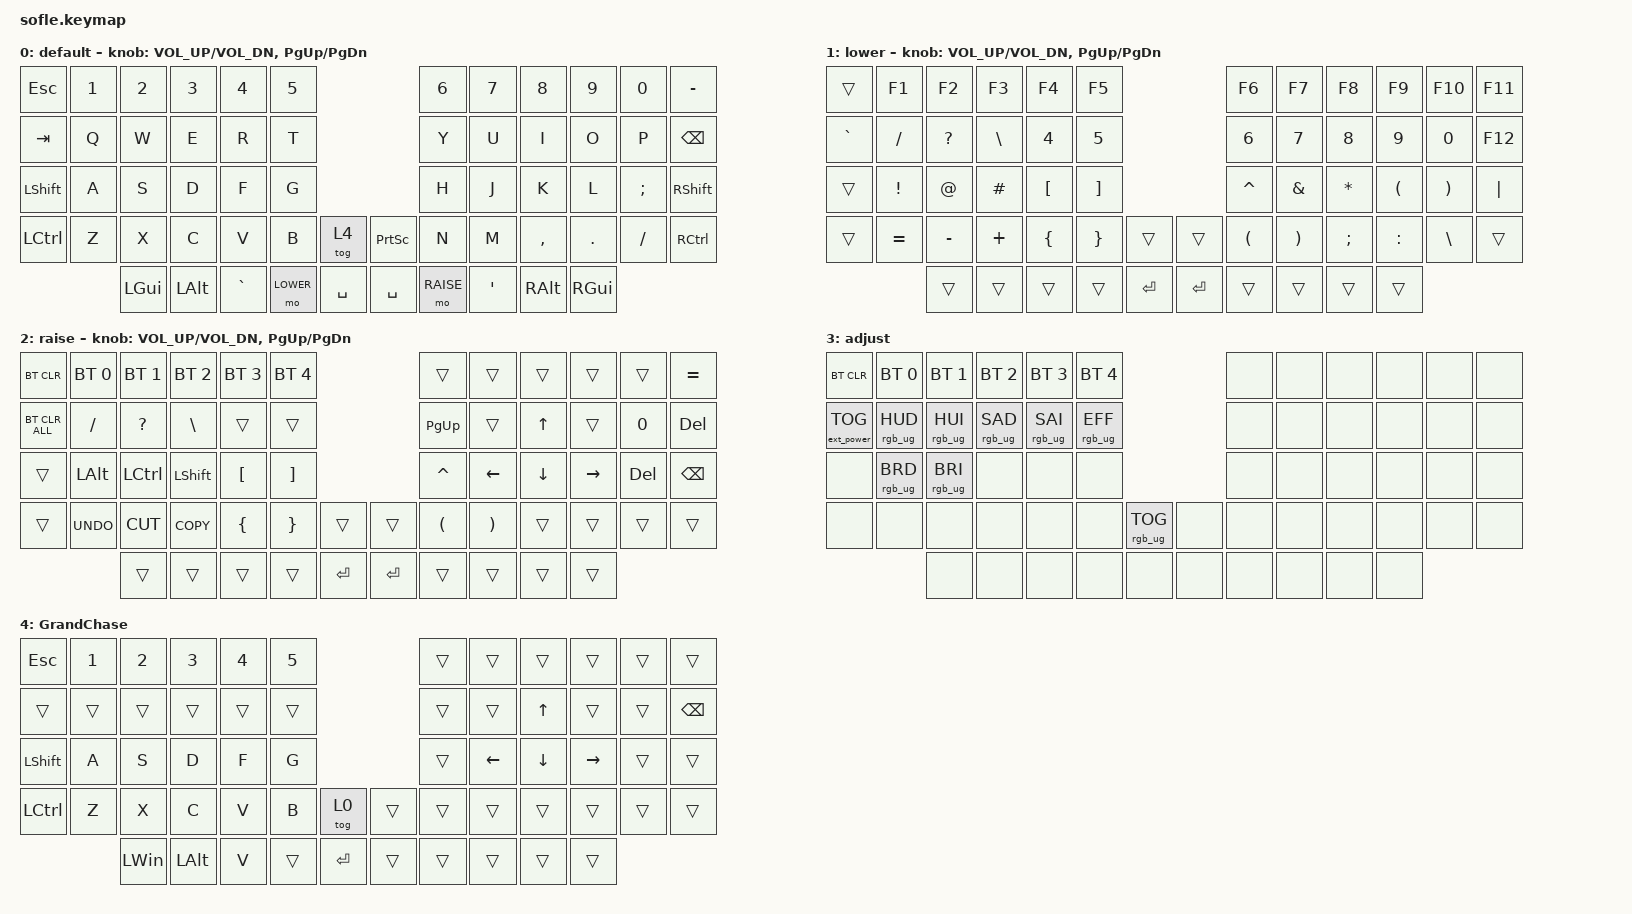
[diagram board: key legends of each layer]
/*
 * Copyright (c) 2020 The ZMK Contributors
 *
 * SPDX-License-Identifier: MIT
 */

#include <behaviors.dtsi>
#include <dt-bindings/zmk/bt.h>
#include <dt-bindings/zmk/ext_power.h>
#include <dt-bindings/zmk/keys.h>
#include <dt-bindings/zmk/rgb.h>

#define BASE 0
#define LOWER 1
#define RAISE 2
#define ADJUST 3

/ {
    // Activate ADJUST layer by pressing raise and lower

    conditional_layers {
        compatible = "zmk,conditional-layers";

        adjust_layer {
            if-layers = <LOWER RAISE>;
            then-layer = <ADJUST>;
        };
    };

    keymap {
        compatible = "zmk,keymap";

        default_layer {
            display-name = "default";

            // ------------------------------------------------------------------------------------------------------------
            // |   `   |  1  |  2  |  3   |  4   |  5   |                   |  6   |  7    |  8    |  9   |   0   |       |
            // |  ESC  |  Q  |  W  |  E   |  R   |  T   |                   |  Y   |  U    |  I    |  O   |   P   | BKSPC |
            // |  TAB  |  A  |  S  |  D   |  F   |  G   |                   |  H   |  J    |  K    |  L   |   ;   |   '   |
            // | SHIFT |  Z  |  X  |  C   |  V   |  B   |  MUTE  |  |       |  N   |  M    |  ,    |  .   |   /   | SHIFT |
            //               | GUI | ALT  | CTRL | LOWER|  ENTER |  | SPACE | RAISE| CTRL  | ALT   | GUI  |

            bindings = <
&kp ESC         &kp N1  &kp N2    &kp N3        &kp N4     &kp N5                                   &kp N6     &kp N7   &kp N8     &kp N9    &kp N0    &kp MINUS
&kp TAB         &kp Q   &kp W     &kp E         &kp R      &kp T                                    &kp Y      &kp U    &kp I      &kp O     &kp P     &kp BSPC
&kp LEFT_SHIFT  &kp A   &kp S     &kp D         &kp F      &kp G                                    &kp H      &kp J    &kp K      &kp L     &kp SEMI  &kp RSHIFT
&kp LCTRL       &kp Z   &kp X     &kp C         &kp V      &kp B      &tog 4       &kp PRINTSCREEN  &kp N      &kp M    &kp COMMA  &kp DOT   &kp FSLH  &kp RCTRL
                        &kp LGUI  &kp LEFT_ALT  &kp GRAVE  &mo LOWER  &kp SPACE    &kp SPACE        &mo RAISE  &kp SQT  &kp RALT   &kp RGUI
            >;

            sensor-bindings = <&inc_dec_kp C_VOL_UP C_VOL_DN &inc_dec_kp PG_UP PG_DN>;
        };

        lower_layer {
            display-name = "lower";

            // TODO: Some binds are waiting for shifted keycode support.
            // ------------------------------------------------------------------------------------------------------------
            // |       |  F1 |  F2 |  F3  |  F4  |  F5  |                   |  F6  |  F7   |  F8   |  F9  |  F10  |  F11  |
            // |   `   |  1  |  2  |  3   |  4   |  5   |                   |  6   |  7    |  8    |  9   |   0   |  F12  |
            // |       |  !  |  @  |  #   |  $   |  %   |                   |  ^   |  &    |  *    |  (   |   )   |   |   |
            // |       |  =  |  -  |  +   |  {   |  }   |        |  |       |  [   |  ]    |  ;    |  :   |   \   |       |
            //               |     |      |      |      |        |  |       |      |       |       |      |

            bindings = <
&trans     &kp F1     &kp F2        &kp F3    &kp F4    &kp F5                            &kp F6     &kp F7    &kp F8     &kp F9     &kp F10   &kp F11
&kp GRAVE  &kp SLASH  &kp QUESTION  &kp BSLH  &kp N4    &kp N5                            &kp N6     &kp N7    &kp N8     &kp N9     &kp N0    &kp F12
&trans     &kp EXCL   &kp AT        &kp HASH  &kp LBKT  &kp RBKT                          &kp CARET  &kp AMPS  &kp ASTRK  &kp LPAR   &kp RPAR  &kp PIPE
&trans     &kp EQUAL  &kp MINUS     &kp PLUS  &kp LBRC  &kp RBRC  &trans       &trans     &kp LPAR   &kp RPAR  &kp SEMI   &kp COLON  &kp BSLH  &trans
                      &trans        &trans    &trans    &trans    &kp ENTER    &kp ENTER  &trans     &trans    &trans     &trans
            >;

            sensor-bindings = <&inc_dec_kp C_VOL_UP C_VOL_DN &inc_dec_kp PG_UP PG_DN>;
        };

        raise_layer {
            display-name = "raise";

            // ------------------------------------------------------------------------------------------------------------
            // | BTCLR | BT1  | BT2  |  BT3  |  BT4  |  BT5 |                |      |      |       |      |       |       |
            // |       | INS  | PSCR | GUI   |       |      |                | PGUP |      |   ^   |      |       |       |
            // |       | ALT  | CTRL | SHIFT |       | CAPS |                | PGDN |   <- |   v   |  ->  |  DEL  | BKSPC |
            // |       | UNDO | CUT  | COPY  | PASTE |      |      |  |      |      |      |       |      |       |       |
            //                |      |       |       |      |      |  |      |      |      |       |      |

            bindings = <
&bt BT_CLR      &bt BT_SEL 0  &bt BT_SEL 1  &bt BT_SEL 2  &bt BT_SEL 3  &bt BT_SEL 4                          &trans     &trans    &trans    &trans     &trans   &kp EQUAL
&bt BT_CLR_ALL  &kp SLASH     &kp QUESTION  &kp BSLH      &trans        &trans                                &kp PG_UP  &trans    &kp UP    &trans     &kp N0   &kp DELETE
&trans          &kp LALT      &kp LCTRL     &kp LSHFT     &kp LBKT      &kp RBKT                              &kp CARET  &kp LEFT  &kp DOWN  &kp RIGHT  &kp DEL  &kp BSPC
&trans          &kp K_UNDO    &kp K_CUT     &kp K_COPY    &kp LBRC      &kp RBRC      &trans       &trans     &kp LPAR   &kp RPAR  &trans    &trans     &trans   &trans
                              &trans        &trans        &trans        &trans        &kp ENTER    &kp ENTER  &trans     &trans    &trans    &trans
            >;

            sensor-bindings = <&inc_dec_kp C_VOL_UP C_VOL_DN &inc_dec_kp PG_UP PG_DN>;
        };

        adjust_layer {
            // ----------------------------------------------------------------------------------------------------------------------------
            // | BTCLR  |  BT1    |  BT2    |   BT3   |   BT4   |   BT5   |                  |      |      |       |      |       |       |
            // | EXTPWR | RGB_HUD | RGB_HUI | RGB_SAD | RGB_SAI | RGB_EFF |                  |      |      |       |      |       |       |
            // |        | RGB_BRD | RGB_BRI |         |         |         |                  |      |      |       |      |       |       |
            // |        |         |         |         |         |         | RGB_TOG | |      |      |      |       |      |       |       |
            //                    |         |         |         |         |         | |      |      |      |       |      |

            display-name = "adjust";
            bindings = <
&bt BT_CLR         &bt BT_SEL 0     &bt BT_SEL 1     &bt BT_SEL 2     &bt BT_SEL 3     &bt BT_SEL 4                               &none  &none  &none  &none  &none  &none
&ext_power EP_TOG  &rgb_ug RGB_HUD  &rgb_ug RGB_HUI  &rgb_ug RGB_SAD  &rgb_ug RGB_SAI  &rgb_ug RGB_EFF                            &none  &none  &none  &none  &none  &none
&none              &rgb_ug RGB_BRD  &rgb_ug RGB_BRI  &none            &none            &none                                      &none  &none  &none  &none  &none  &none
&none              &none            &none            &none            &none            &none            &rgb_ug RGB_TOG    &none  &none  &none  &none  &none  &none  &none
                                    &none            &none            &none            &none            &none              &none  &none  &none  &none  &none
            >;
        };

        GrandChase {
            bindings = <
&kp ESCAPE      &kp NUMBER_1  &kp NUMBER_2  &kp NUMBER_3  &kp NUMBER_4  &kp NUMBER_5                       &trans  &trans          &trans        &trans     &trans  &trans
&trans          &trans        &trans        &trans        &trans        &trans                             &trans  &trans          &kp UP_ARROW  &trans     &trans  &kp BACKSPACE
&kp LEFT_SHIFT  &kp A         &kp S         &kp D         &kp F         &kp G                              &trans  &kp LEFT_ARROW  &kp DOWN      &kp RIGHT  &trans  &trans
&kp LCTRL       &kp Z         &kp X         &kp C         &kp V         &kp B         &tog 0       &trans  &trans  &trans          &trans        &trans     &trans  &trans
                              &kp LEFT_WIN  &kp LEFT_ALT  &kp V         &trans        &kp ENTER    &trans  &trans  &trans          &trans        &trans
            >;
        };
    };
};
